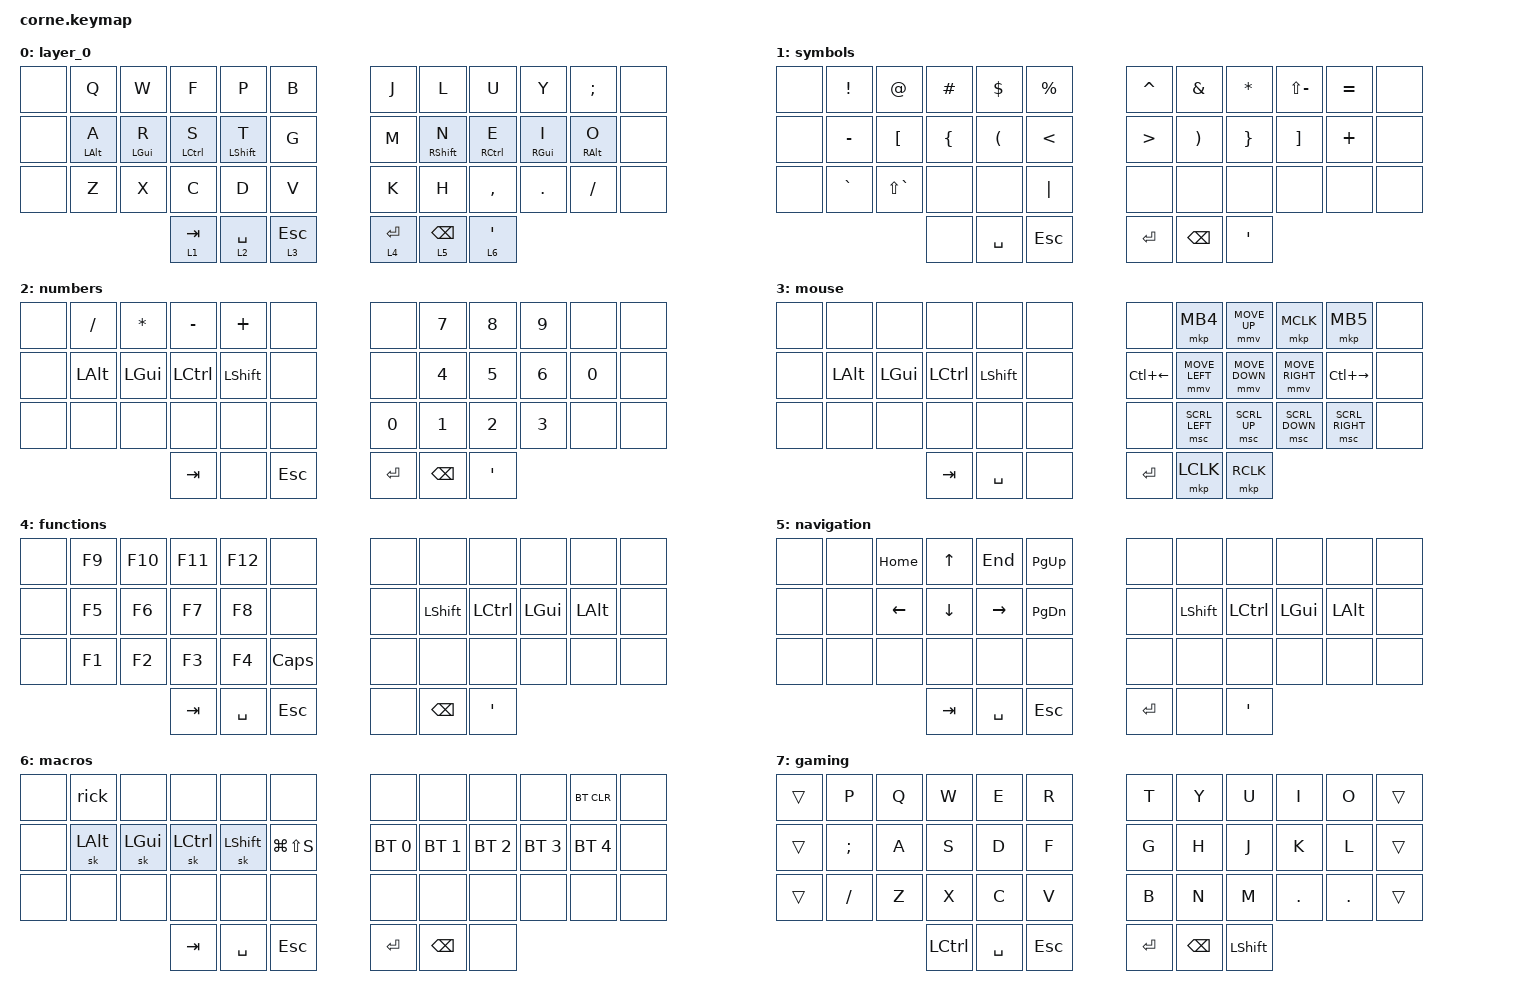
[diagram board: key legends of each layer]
/*
 * Copyright (c) 2020 The ZMK Contributors
 *
 * SPDX-License-Identifier: MIT
 */

#include <behaviors.dtsi>
#include <dt-bindings/zmk/bt.h>
#include <dt-bindings/zmk/keys.h>
#include <dt-bindings/zmk/pointing.h>

&mt {
    tapping-term-ms = <75>;
    flavor = "tap-unless-interrupted";
    require-prior-idle-ms = <150>;
    quick-tap-ms = <20>;
};

&lt { quick-tap-ms = <200>; };

&sk {
    lazy;
    quick-release;
    release-after-ms = <10000>;
};

/ {
    combos {
        compatible = "zmk,combos";

        gaming {
            bindings = <&tog 7>;
            key-positions = <38 39>;
        };
    };

    macros {
        rick: rick {
            compatible = "zmk,behavior-macro";
            #binding-cells = <0>;
            bindings = <&kp H &kp T &kp T &kp P &kp S &kp COLON &kp FSLH &kp FSLH &kp Y &kp O &kp U &kp T &kp U &kp DOT &kp B &kp E &kp FSLH &kp D &kp LS(Q) &kp W &kp N4 &kp W &kp N9 &kp LS(W) &kp G &kp LS(X) &kp C &kp LS(Q)>;
            label = "RICK";
        };
    };

    behaviors {
        lh_hrm: lh_hrm {
            compatible = "zmk,behavior-hold-tap";
            label = "LH_HRM";
            bindings = <&kp>, <&kp>;

            #binding-cells = <2>;
            tapping-term-ms = <75>;
            quick-tap-ms = <20>;
            require-prior-idle-ms = <100>;
            flavor = "tap-unless-interrupted";
            hold-trigger-key-positions = <39 40 30 6 18 7 8 9 10 11 19 20 21 22 23 31 32 33 34 35 40 41>;
        };

        rh_hrm: rh_hrm {
            compatible = "zmk,behavior-hold-tap";
            label = "RH_HRM";
            bindings = <&kp>, <&kp>;

            #binding-cells = <2>;
            tapping-term-ms = <75>;
            quick-tap-ms = <20>;
            require-prior-idle-ms = <100>;
            flavor = "tap-unless-interrupted";
            hold-trigger-key-positions = <0 1 2 4 5 12 13 14 15 16 17 24 25 26 27 28 29 36 37 38 3>;
        };
    };

    keymap {
        compatible = "zmk,keymap";

        layer_0 {
            bindings = <
&none  &kp Q               &kp W               &kp F                   &kp P                 &kp B           &kp J        &kp L                  &kp U                    &kp Y                &kp SEMI             &none
&none  &lh_hrm LEFT_ALT A  &lh_hrm LEFT_GUI R  &lh_hrm LEFT_CONTROL S  &lh_hrm LEFT_SHIFT T  &kp G           &kp M        &rh_hrm RIGHT_SHIFT N  &rh_hrm RIGHT_CONTROL E  &rh_hrm RIGHT_GUI I  &rh_hrm RIGHT_ALT O  &none
&none  &kp Z               &kp X               &kp C                   &kp D                 &kp V           &kp K        &kp H                  &kp COMMA                &kp DOT              &kp FSLH             &none
                                               &lt 1 TAB               &lt 2 SPACE           &lt 3 ESCAPE    &lt 4 ENTER  &lt 5 BACKSPACE        &lt 6 SQT
            >;
        };

        symbols {
            bindings = <
&none  &kp EXCL   &kp AT            &kp HASH        &kp DLLR              &kp PRCNT     &kp CARET   &kp AMPS       &kp STAR  &kp LS(MINUS)      &kp EQUAL  &none
&none  &kp MINUS  &kp LEFT_BRACKET  &kp LEFT_BRACE  &kp LEFT_PARENTHESIS  &kp LT        &kp GT      &kp RPAR       &kp RBRC  &kp RIGHT_BRACKET  &kp PLUS   &none
&none  &kp GRAVE  &kp LS(GRAVE)     &none           &none                 &kp PIPE      &none       &none          &none     &none              &none      &none
                                    &none           &kp SPACE             &kp ESCAPE    &kp RETURN  &kp BACKSPACE  &kp APOS
            >;
        };

        numbers {
            bindings = <
&none  &kp FSLH  &kp STAR  &kp MINUS  &kp PLUS   &none         &none         &kp N7         &kp N8    &kp N9  &none         &none
&none  &kp LALT  &kp LGUI  &kp LCTRL  &kp LSHFT  &none         &none         &kp N4         &kp N5    &kp N6  &kp NUMBER_0  &none
&none  &none     &none     &none      &none      &none         &kp NUMBER_0  &kp N1         &kp N2    &kp N3  &none         &none
                           &kp TAB    &none      &kp ESCAPE    &kp RETURN    &kp BACKSPACE  &kp APOS
            >;
        };

        mouse {
            bindings = <
&none  &none         &none         &none             &none           &none    &none         &mkp MB4        &mmv MOVE_UP    &mkp MCLK        &mkp MB5         &none
&none  &kp LEFT_ALT  &kp LEFT_GUI  &kp LEFT_CONTROL  &kp LEFT_SHIFT  &none    &kp LC(LEFT)  &mmv MOVE_LEFT  &mmv MOVE_DOWN  &mmv MOVE_RIGHT  &kp LC(RIGHT)    &none
&none  &none         &none         &none             &none           &none    &none         &msc SCRL_LEFT  &msc SCRL_UP    &msc SCRL_DOWN   &msc SCRL_RIGHT  &none
                                   &kp TAB           &kp SPACE       &none    &kp RETURN    &mkp LCLK       &mkp RCLK
            >;
        };

        functions {
            bindings = <
&none  &kp F9  &kp F10  &kp F11  &kp F12    &none         &none  &none          &none      &none     &none     &none
&none  &kp F5  &kp F6   &kp F7   &kp F8     &none         &none  &kp LSHFT      &kp LCTRL  &kp LGUI  &kp LALT  &none
&none  &kp F1  &kp F2   &kp F3   &kp F4     &kp CAPS      &none  &none          &none      &none     &none     &none
                        &kp TAB  &kp SPACE  &kp ESCAPE    &none  &kp BACKSPACE  &kp APOS
            >;
        };

        navigation {
            bindings = <
&none  &none  &kp HOME  &kp UP    &kp END    &kp PAGE_UP      &none       &none      &none      &none     &none     &none
&none  &none  &kp LEFT  &kp DOWN  &kp RIGHT  &kp PAGE_DOWN    &none       &kp LSHFT  &kp LCTRL  &kp LGUI  &kp LALT  &none
&none  &none  &none     &none     &none      &none            &none       &none      &none      &none     &none     &none
                        &kp TAB   &kp SPACE  &kp ESCAPE       &kp RETURN  &none      &kp APOS
            >;
        };

        macros {
            bindings = <
&none  &rick         &none         &none             &none           &none            &none         &none          &none         &none         &bt BT_CLR    &none
&none  &sk LEFT_ALT  &sk LEFT_GUI  &sk LEFT_CONTROL  &sk LEFT_SHIFT  &kp LG(LS(S))    &bt BT_SEL 0  &bt BT_SEL 1   &bt BT_SEL 2  &bt BT_SEL 3  &bt BT_SEL 4  &none
&none  &none         &none         &none             &none           &none            &none         &none          &none         &none         &none         &none
                                   &kp TAB           &kp SPACE       &kp ESCAPE       &kp RETURN    &kp BACKSPACE  &none
            >;
        };

        gaming {
            bindings = <
&trans  &kp P     &kp Q  &kp W      &kp E      &kp R      &kp T    &kp Y          &kp U      &kp I    &kp O    &trans
&trans  &kp SEMI  &kp A  &kp S      &kp D      &kp F      &kp G    &kp H          &kp J      &kp K    &kp L    &trans
&trans  &kp FSLH  &kp Z  &kp X      &kp C      &kp V      &kp B    &kp N          &kp M      &kp DOT  &kp DOT  &trans
                         &kp LCTRL  &kp SPACE  &kp ESC    &kp RET  &kp BACKSPACE  &kp LSHFT
            >;
        };
    };
};
